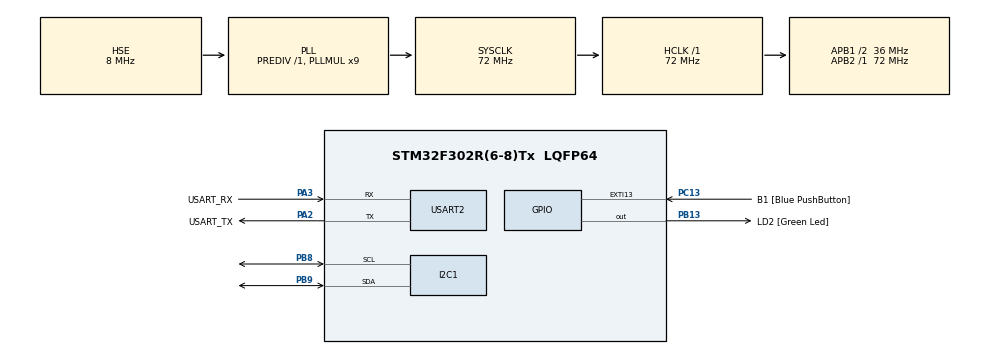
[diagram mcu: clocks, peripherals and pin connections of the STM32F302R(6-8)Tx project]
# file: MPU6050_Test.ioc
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Mcu.Family=STM32F3
Mcu.Name=STM32F302R(6-8)Tx
Mcu.Package=LQFP64
NVIC.PriorityGroup=NVIC_PRIORITYGROUP_0
PA13.GPIO_Label=TMS
PA13.Mode=Serial_Wire
PA13.Signal=SYS_JTMS-SWDIO
PA14.GPIO_Label=TCK
PA14.Mode=Serial_Wire
PA14.Signal=SYS_JTCK-SWCLK
PA2.GPIO_Label=USART_TX
PA2.GPIO_Mode=GPIO_MODE_AF_PP
PA2.GPIO_PuPd=GPIO_NOPULL
PA2.GPIO_Speed=GPIO_SPEED_FREQ_LOW
PA2.Mode=Asynchronous
PA2.Signal=USART2_TX
PA3.GPIO_Label=USART_RX
PA3.GPIO_Mode=GPIO_MODE_AF_PP
PA3.GPIO_PuPd=GPIO_NOPULL
PA3.GPIO_Speed=GPIO_SPEED_FREQ_LOW
PA3.Mode=Asynchronous
PA3.Signal=USART2_RX
PB13.GPIO_Label=LD2 [Green Led]
PB13.Signal=GPIO_Output
PB3.GPIO_Label=SWO
PB3.Mode=Trace_Asynchronous_SW
PB3.Signal=SYS_JTDO-TRACESWO
PB8.Mode=I2C
PB8.Signal=I2C1_SCL
PB9.Mode=I2C
PB9.Signal=I2C1_SDA
PC13.GPIO_Label=B1 [Blue PushButton]
PC13.GPIO_ModeDefaultEXTI=GPIO_MODE_IT_FALLING
PC13.Signal=GPXTI13
PC14\ -\ OSC32_IN.Signal=RCC_OSC32_IN
PC15\ -\ OSC32_OUT.Signal=RCC_OSC32_OUT
PF0-OSC_IN.Mode=HSE-External-Oscillator
PF0-OSC_IN.Signal=RCC_OSC_IN
PF1-OSC_OUT.Mode=HSE-External-Oscillator
PF1-OSC_OUT.Signal=RCC_OSC_OUT
ProjectManager.HeapSize=0x200
ProjectManager.StackSize=0x400
ProjectManager.TargetToolchain=EWARM V8.32
RCC.AHBFreq_Value=72000000
RCC.APB1CLKDivider=RCC_HCLK_DIV2
RCC.APB1Freq_Value=36000000
RCC.APB1TimFreq_Value=72000000
RCC.APB2Freq_Value=72000000
RCC.APB2TimFreq_Value=72000000
RCC.CortexFreq_Value=72000000
RCC.HCLKFreq_Value=72000000
RCC.HSE_VALUE=8000000
RCC.HSI_VALUE=8000000
RCC.LSE_VALUE=32768
RCC.PLLM=8
RCC.PLLMUL=RCC_PLL_MUL9
RCC.PLLN=336
RCC.PLLP=RCC_PLLP_DIV4
RCC.PLLQ=7
RCC.PLLSourceVirtual=RCC_PLLSOURCE_HSE
RCC.SYSCLKFreq_VALUE=72000000
RCC.SYSCLKSourceVirtual=RCC_SYSCLKSOURCE_PLLCLK
RCC.USBFreq_Value=72000000
USART2.VirtualMode-Asynchronous=VM_ASYNC
board=NUCLEO-F302R8

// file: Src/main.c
/* USER CODE BEGIN Header */
/**
  ******************************************************************************
  * @file           : main.c
  * @brief          : Main program body
  ******************************************************************************
  * @attention
  *
  * <h2><center>&copy; Copyright (c) 2020 STMicroelectronics.
  * All rights reserved.</center></h2>
  *
  * This software component is licensed by ST under BSD 3-Clause license,
  * the "License"; You may not use this file except in compliance with the
  * License. You may obtain a copy of the License at:
  *                        opensource.org/licenses/BSD-3-Clause
  *
  ******************************************************************************
  */
/* USER CODE END Header */

#include "main.h"
#include <stdio.h>

/* USER CODE BEGIN PD */
#define MPU6050_ADDR 0xD0
#define GYRO_CONFIG_REG 0x1B
#define SMPLRT_DIV_REG 0x19
#define ACCEL_CONFIG_REG 0x1C
#define ACCEL_XOUT_H_REG 0x3B
#define WHO_AM_I_REG 0x75

#define TEMP_OUT_H_REG 0x41
#define PWR_MGMT_1_REG 0x6B
#define GYRO_XOUT_H_REG 0x43

#define PI 3.14
/* USER CODE END PD */

I2C_HandleTypeDef hi2c1;

UART_HandleTypeDef huart2;

/* USER CODE BEGIN PV */
uint8_t Rec_Data;
int16_t Gyro_X_RAW = 0;
int16_t Gyro_Y_RAW = 0;
int16_t Gyro_Z_RAW = 0;
int16_t Accel_X_RAW = 0;
int16_t Accel_Y_RAW = 0;
int16_t Accel_Z_RAW = 0;
float Gx , Gy, Gz, Ax, Ay, Az;
/* USER CODE END PV */

void SystemClock_Config(void);
static void MX_GPIO_Init(void);
static void MX_I2C1_Init(void);
static void MX_USART2_UART_Init(void);
/* USER CODE BEGIN PFP */
//Initialise the MPU6050 Module
void MPU6050_Init (void)
{
	uint8_t check;
	uint8_t Data;

	// check device ID WHO_AM_I

	HAL_I2C_Mem_Read (&hi2c1, MPU6050_ADDR,WHO_AM_I_REG,1, &check, 1, 1000);

	if (check == 104)  // 0x68 will be returned by the sensor if everything goes well
	{
		// power management register 0X6B we should write all 0's to wake the sensor up
		Data = 0;
		HAL_I2C_Mem_Write(&hi2c1, MPU6050_ADDR, PWR_MGMT_1_REG, 1,&Data, 1, 1000);

		// Set DATA RATE of 1KHz by writing SMPLRT_DIV register
		Data = 0x07;
		HAL_I2C_Mem_Write(&hi2c1, MPU6050_ADDR, SMPLRT_DIV_REG, 1, &Data, 1, 1000);

		// Set accelerometer configuration in ACCEL_CONFIG Register
		// XA_ST=0,YA_ST=0,ZA_ST=0, FS_SEL=0 -> ± 2g
		Data = 0x00;
		HAL_I2C_Mem_Write(&hi2c1, MPU6050_ADDR, ACCEL_CONFIG_REG, 1, &Data, 1, 1000);

		// Set Gyroscopic configuration in GYRO_CONFIG Register
		// XG_ST=0,YG_ST=0,ZG_ST=0, FS_SEL=0 -> ± 250 °/s
		Data = 0x00;
		HAL_I2C_Mem_Write(&hi2c1, MPU6050_ADDR, GYRO_CONFIG_REG, 1, &Data, 1, 1000);
	}

}
//Read Accelerometer Data
void MPU6050_Read_Accel (void)
{
	uint8_t Rec_Data[6];

	// Read 6 BYTES of data starting from ACCEL_XOUT_H register

	HAL_I2C_Mem_Read (&hi2c1, MPU6050_ADDR, ACCEL_XOUT_H_REG, 1, Rec_Data, 6, 1000);

	Accel_X_RAW = (int16_t)(Rec_Data[0] << 8 | Rec_Data [1]);
	Accel_Y_RAW = (int16_t)(Rec_Data[2] << 8 | Rec_Data [3]);
	Accel_Z_RAW = (int16_t)(Rec_Data[4] << 8 | Rec_Data [5]);

	/*** convert the RAW values into acceleration in 'g'
	     we have to divide according to the Full scale value set in FS_SEL
	     I have configured FS_SEL = 0. So I am dividing by 16384.0
	     for more details check ACCEL_CONFIG Register              ****/

	Ax = Accel_X_RAW/16384.0;
	Ay = Accel_Y_RAW/16384.0;
	Az = Accel_Z_RAW/16384.0;
}
//Read The Gyroscope values using I2C
void MPU6050_Read_Gyro (void)
{
      uint8_t Rec_Data[6];

	// Read 6 BYTES of data starting from GYRO_XOUT_H register

	HAL_I2C_Mem_Read (&hi2c1, MPU6050_ADDR, GYRO_XOUT_H_REG, 1, Rec_Data, 6, 1000);

	Gyro_X_RAW = (int16_t)(Rec_Data[0] << 8 | Rec_Data [1]);
	Gyro_Y_RAW = (int16_t)(Rec_Data[2] << 8 | Rec_Data [3]);
	Gyro_Z_RAW = (int16_t)(Rec_Data[4] << 8 | Rec_Data [5]);

	/*** convert the RAW values into dps (°/s)
	     we have to divide according to the Full scale value set in FS_SEL
	     I have configured FS_SEL = 0. So I am dividing by 131.0
	     for more details check GYRO_CONFIG Register              ****/

	Gx = (Gyro_X_RAW/131.0)+2;
	Gy = (Gyro_Y_RAW/131.0)+1;
	Gz = (Gyro_Z_RAW/131.0)+1;

}
/* USER CODE END PFP */

int main(void)
{
  /* USER CODE BEGIN 1 */

char str[20];
  /* USER CODE END 1 */

  /* MCU Configuration--------------------------------------------------------*/

  /* Reset of all peripherals, Initializes the Flash interface and the Systick. */
  HAL_Init();

  /* Configure the system clock */
  SystemClock_Config();

  /* Initialize all configured peripherals */
  MX_GPIO_Init();
  MX_I2C1_Init();
  MX_USART2_UART_Init();
  /* USER CODE BEGIN 2 */
  MPU6050_Init();
  /* USER CODE END 2 */

  /* Infinite loop */
  while(1)
  {

      MPU6050_Read_Gyro ();
      HAL_Delay(200);
       MPU6050_Read_Accel();

      //Uart Transmit the Values
      HAL_UART_Transmit(&huart2,(uint8_t*) str, sprintf(str, "Gyroscope -X: %.2f      -Y: %.2f        -Z:%.2f \n\nAccelerometer %.2f      -Y: %.2f        -Z:%.2f",
                    Gx,
                    Gy,
                    Gz,Ax,Ay,Az),1000);
  }
}

void SystemClock_Config(void)
{
  RCC_OscInitTypeDef RCC_OscInitStruct = {0};
  RCC_ClkInitTypeDef RCC_ClkInitStruct = {0};
  RCC_PeriphCLKInitTypeDef PeriphClkInit = {0};

  /** Initializes the CPU, AHB and APB busses clocks
  */
  RCC_OscInitStruct.OscillatorType = RCC_OSCILLATORTYPE_HSI|RCC_OSCILLATORTYPE_HSE;
  RCC_OscInitStruct.HSEState = RCC_HSE_ON;
  RCC_OscInitStruct.HSEPredivValue = RCC_HSE_PREDIV_DIV1;
  RCC_OscInitStruct.HSIState = RCC_HSI_ON;
  RCC_OscInitStruct.HSICalibrationValue = RCC_HSICALIBRATION_DEFAULT;
  RCC_OscInitStruct.PLL.PLLState = RCC_PLL_ON;
  RCC_OscInitStruct.PLL.PLLSource = RCC_PLLSOURCE_HSE;
  RCC_OscInitStruct.PLL.PLLMUL = RCC_PLL_MUL9;
  if (HAL_RCC_OscConfig(&RCC_OscInitStruct) != HAL_OK)
  {
    Error_Handler();
  }
  /** Initializes the CPU, AHB and APB busses clocks
  */
  RCC_ClkInitStruct.ClockType = RCC_CLOCKTYPE_HCLK|RCC_CLOCKTYPE_SYSCLK
                              |RCC_CLOCKTYPE_PCLK1|RCC_CLOCKTYPE_PCLK2;
  RCC_ClkInitStruct.SYSCLKSource = RCC_SYSCLKSOURCE_PLLCLK;
  RCC_ClkInitStruct.AHBCLKDivider = RCC_SYSCLK_DIV1;
  RCC_ClkInitStruct.APB1CLKDivider = RCC_HCLK_DIV2;
  RCC_ClkInitStruct.APB2CLKDivider = RCC_HCLK_DIV1;

  if (HAL_RCC_ClockConfig(&RCC_ClkInitStruct, FLASH_LATENCY_2) != HAL_OK)
  {
    Error_Handler();
  }
  PeriphClkInit.PeriphClockSelection = RCC_PERIPHCLK_I2C1;
  PeriphClkInit.I2c1ClockSelection = RCC_I2C1CLKSOURCE_HSI;
  if (HAL_RCCEx_PeriphCLKConfig(&PeriphClkInit) != HAL_OK)
  {
    Error_Handler();
  }
}

static void MX_I2C1_Init(void)
{

  hi2c1.Instance = I2C1;
  hi2c1.Init.Timing = 0x2000090E;
  hi2c1.Init.OwnAddress1 = 0;
  hi2c1.Init.AddressingMode = I2C_ADDRESSINGMODE_7BIT;
  hi2c1.Init.DualAddressMode = I2C_DUALADDRESS_DISABLE;
  hi2c1.Init.OwnAddress2 = 0;
  hi2c1.Init.OwnAddress2Masks = I2C_OA2_NOMASK;
  hi2c1.Init.GeneralCallMode = I2C_GENERALCALL_DISABLE;
  hi2c1.Init.NoStretchMode = I2C_NOSTRETCH_DISABLE;
  if (HAL_I2C_Init(&hi2c1) != HAL_OK)
  {
    Error_Handler();
  }
  /** Configure Analogue filter
  */
  if (HAL_I2CEx_ConfigAnalogFilter(&hi2c1, I2C_ANALOGFILTER_ENABLE) != HAL_OK)
  {
    Error_Handler();
  }
  /** Configure Digital filter
  */
  if (HAL_I2CEx_ConfigDigitalFilter(&hi2c1, 0) != HAL_OK)
  {
    Error_Handler();
  }

}

static void MX_USART2_UART_Init(void)
{

  huart2.Instance = USART2;
  huart2.Init.BaudRate = 38400;
  huart2.Init.WordLength = UART_WORDLENGTH_8B;
  huart2.Init.StopBits = UART_STOPBITS_1;
  huart2.Init.Parity = UART_PARITY_NONE;
  huart2.Init.Mode = UART_MODE_TX_RX;
  huart2.Init.HwFlowCtl = UART_HWCONTROL_NONE;
  huart2.Init.OverSampling = UART_OVERSAMPLING_16;
  huart2.Init.OneBitSampling = UART_ONE_BIT_SAMPLE_DISABLE;
  huart2.AdvancedInit.AdvFeatureInit = UART_ADVFEATURE_NO_INIT;
  if (HAL_UART_Init(&huart2) != HAL_OK)
  {
    Error_Handler();
  }

}

static void MX_GPIO_Init(void)
{
  GPIO_InitTypeDef GPIO_InitStruct = {0};

  /* GPIO Ports Clock Enable */
  __HAL_RCC_GPIOC_CLK_ENABLE();
  __HAL_RCC_GPIOF_CLK_ENABLE();
  __HAL_RCC_GPIOA_CLK_ENABLE();
  __HAL_RCC_GPIOB_CLK_ENABLE();

  /*Configure GPIO pin Output Level */
  HAL_GPIO_WritePin(LD2_GPIO_Port, LD2_Pin, GPIO_PIN_RESET);

  /*Configure GPIO pin : B1_Pin */
  GPIO_InitStruct.Pin = B1_Pin;
  GPIO_InitStruct.Mode = GPIO_MODE_IT_FALLING;
  GPIO_InitStruct.Pull = GPIO_NOPULL;
  HAL_GPIO_Init(B1_GPIO_Port, &GPIO_InitStruct);

  /*Configure GPIO pin : LD2_Pin */
  GPIO_InitStruct.Pin = LD2_Pin;
  GPIO_InitStruct.Mode = GPIO_MODE_OUTPUT_PP;
  GPIO_InitStruct.Pull = GPIO_NOPULL;
  GPIO_InitStruct.Speed = GPIO_SPEED_FREQ_LOW;
  HAL_GPIO_Init(LD2_GPIO_Port, &GPIO_InitStruct);

}

void Error_Handler(void)
{
}

/************************ (C) COPYRIGHT STMicroelectronics *****END OF FILE****/
